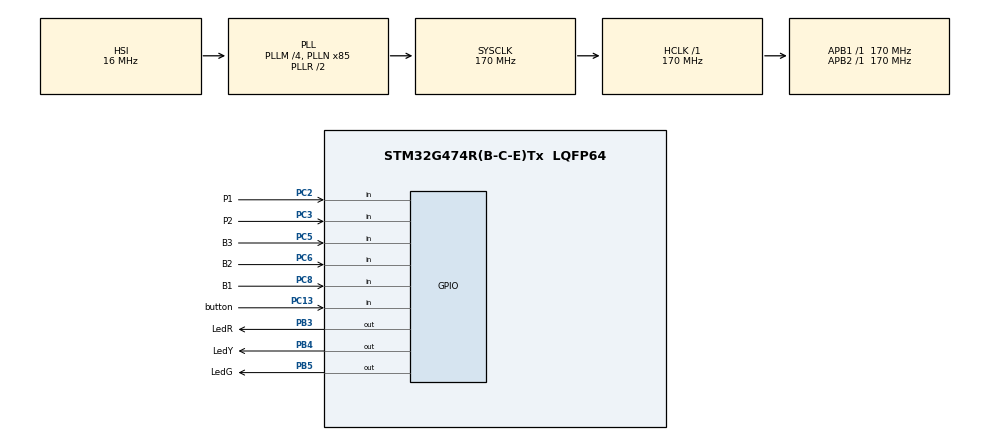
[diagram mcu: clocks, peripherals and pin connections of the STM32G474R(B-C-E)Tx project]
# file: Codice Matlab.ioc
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Mcu.Family=STM32G4
Mcu.Name=STM32G474R(B-C-E)Tx
Mcu.Package=LQFP64
NVIC.PriorityGroup=NVIC_PRIORITYGROUP_4
PB3.GPIO_Label=LedR
PB3.Signal=GPIO_Output
PB4.GPIO_Label=LedY
PB4.Signal=GPIO_Output
PB5.GPIO_Label=LedG
PB5.Signal=GPIO_Output
PC13.GPIO_Label=button
PC13.Signal=GPIO_Input
PC2.GPIO_Label=P1
PC2.Signal=GPIO_Input
PC3.GPIO_Label=P2
PC3.Signal=GPIO_Input
PC5.GPIO_Label=B3
PC5.GPIO_PuPd=GPIO_NOPULL
PC5.Signal=GPIO_Input
PC6.GPIO_Label=B2
PC6.GPIO_PuPd=GPIO_NOPULL
PC6.Signal=GPIO_Input
PC8.GPIO_Label=B1
PC8.GPIO_PuPd=GPIO_NOPULL
PC8.Signal=GPIO_Input
ProjectManager.HeapSize=0x200
ProjectManager.StackSize=0x400
ProjectManager.TargetToolchain=STM32CubeIDE
RCC.ADC12Freq_Value=170000000
RCC.ADC345Freq_Value=170000000
RCC.AHBFreq_Value=170000000
RCC.APB1Freq_Value=170000000
RCC.APB1TimFreq_Value=170000000
RCC.APB2Freq_Value=170000000
RCC.APB2TimFreq_Value=170000000
RCC.CortexFreq_Value=170000000
RCC.EXTERNAL_CLOCK_VALUE=12288000
RCC.HCLKFreq_Value=170000000
RCC.HSE_VALUE=24000000
RCC.HSI48_VALUE=48000000
RCC.HSI_VALUE=16000000
RCC.PLLM=RCC_PLLM_DIV4
RCC.PLLN=85
RCC.RTCClockSelection=RCC_RTCCLKSOURCE_LSE
RCC.SYSCLKFreq_VALUE=170000000
RCC.SYSCLKSource=RCC_SYSCLKSOURCE_PLLCLK
RCC.USBFreq_Value=170000000
RCC.VCOOutputFreq_Value=340000000
VP_SYS_VS_DBSignals.Mode=DisableDeadBatterySignals
board=NUCLEO-G474RE

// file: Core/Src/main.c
/* USER CODE BEGIN Header */
/**
  ******************************************************************************
  * @file           : main.c
  * @brief          : Main program body
  ******************************************************************************
  * @attention
  *
  * Copyright (c) 2024 STMicroelectronics.
  * All rights reserved.
  *
  * This software is licensed under terms that can be found in the LICENSE file
  * in the root directory of this software component.
  * If no LICENSE file comes with this software, it is provided AS-IS.
  *
  ******************************************************************************
  */
/* USER CODE END Header */
#include "main.h"
#include "gpio.h"

/* USER CODE BEGIN Includes */
#include "Chart.h"
/* USER CODE END Includes */

void SystemClock_Config(void);

/* USER CODE BEGIN 0 */
static void Chart_read_inputs(){
	rtU.B1 = HAL_GPIO_ReadPin(B1_GPIO_Port, B1_Pin);
	rtU.B2 = HAL_GPIO_ReadPin(B2_GPIO_Port, B2_Pin);
	rtU.B3 = HAL_GPIO_ReadPin(B3_GPIO_Port, B3_Pin);
	rtU.P1 = !HAL_GPIO_ReadPin(P1_GPIO_Port, P1_Pin);
	rtU.P2 = !HAL_GPIO_ReadPin(P2_GPIO_Port, P2_Pin);
}

static void Chart_write_outputs(){
	HAL_GPIO_WritePin(LedG_GPIO_Port, LedG_Pin, rtY.LedG);
	HAL_GPIO_WritePin(LedY_GPIO_Port, LedY_Pin, rtY.LedY);
	HAL_GPIO_WritePin(LedR_GPIO_Port, LedR_Pin, rtY.LedR);
}
/* USER CODE END 0 */

int main(void)
{

  /* MCU Configuration--------------------------------------------------------*/

  /* Reset of all peripherals, Initializes the Flash interface and the Systick. */
  HAL_Init();

  /* Configure the system clock */
  SystemClock_Config();

  /* Initialize all configured peripherals */
  MX_GPIO_Init();
  /* USER CODE BEGIN 2 */
  Chart_initialize();
  /* USER CODE END 2 */

  /* Infinite loop */
  while (1)
  {

    /* USER CODE BEGIN 3 */

	  uint32_t elapsed, start;
	  start = HAL_GetTick();

	  Chart_read_inputs();
	  Chart_step();
	  Chart_write_outputs();

	  elapsed = HAL_GetTick() - start;
	  HAL_Delay(100-elapsed);
  }
  /* USER CODE END 3 */
}

void SystemClock_Config(void)
{
  RCC_OscInitTypeDef RCC_OscInitStruct = {0};
  RCC_ClkInitTypeDef RCC_ClkInitStruct = {0};

  /** Configure the main internal regulator output voltage
  */
  HAL_PWREx_ControlVoltageScaling(PWR_REGULATOR_VOLTAGE_SCALE1_BOOST);

  /** Initializes the RCC Oscillators according to the specified parameters
  * in the RCC_OscInitTypeDef structure.
  */
  RCC_OscInitStruct.OscillatorType = RCC_OSCILLATORTYPE_HSI;
  RCC_OscInitStruct.HSIState = RCC_HSI_ON;
  RCC_OscInitStruct.HSICalibrationValue = RCC_HSICALIBRATION_DEFAULT;
  RCC_OscInitStruct.PLL.PLLState = RCC_PLL_ON;
  RCC_OscInitStruct.PLL.PLLSource = RCC_PLLSOURCE_HSI;
  RCC_OscInitStruct.PLL.PLLM = RCC_PLLM_DIV4;
  RCC_OscInitStruct.PLL.PLLN = 85;
  RCC_OscInitStruct.PLL.PLLP = RCC_PLLP_DIV2;
  RCC_OscInitStruct.PLL.PLLQ = RCC_PLLQ_DIV2;
  RCC_OscInitStruct.PLL.PLLR = RCC_PLLR_DIV2;
  if (HAL_RCC_OscConfig(&RCC_OscInitStruct) != HAL_OK)
  {
    Error_Handler();
  }

  /** Initializes the CPU, AHB and APB buses clocks
  */
  RCC_ClkInitStruct.ClockType = RCC_CLOCKTYPE_HCLK|RCC_CLOCKTYPE_SYSCLK
                              |RCC_CLOCKTYPE_PCLK1|RCC_CLOCKTYPE_PCLK2;
  RCC_ClkInitStruct.SYSCLKSource = RCC_SYSCLKSOURCE_PLLCLK;
  RCC_ClkInitStruct.AHBCLKDivider = RCC_SYSCLK_DIV1;
  RCC_ClkInitStruct.APB1CLKDivider = RCC_HCLK_DIV1;
  RCC_ClkInitStruct.APB2CLKDivider = RCC_HCLK_DIV1;

  if (HAL_RCC_ClockConfig(&RCC_ClkInitStruct, FLASH_LATENCY_4) != HAL_OK)
  {
    Error_Handler();
  }
}

void Error_Handler(void)
{
  __disable_irq();
  while (1)
  {
  }
}
